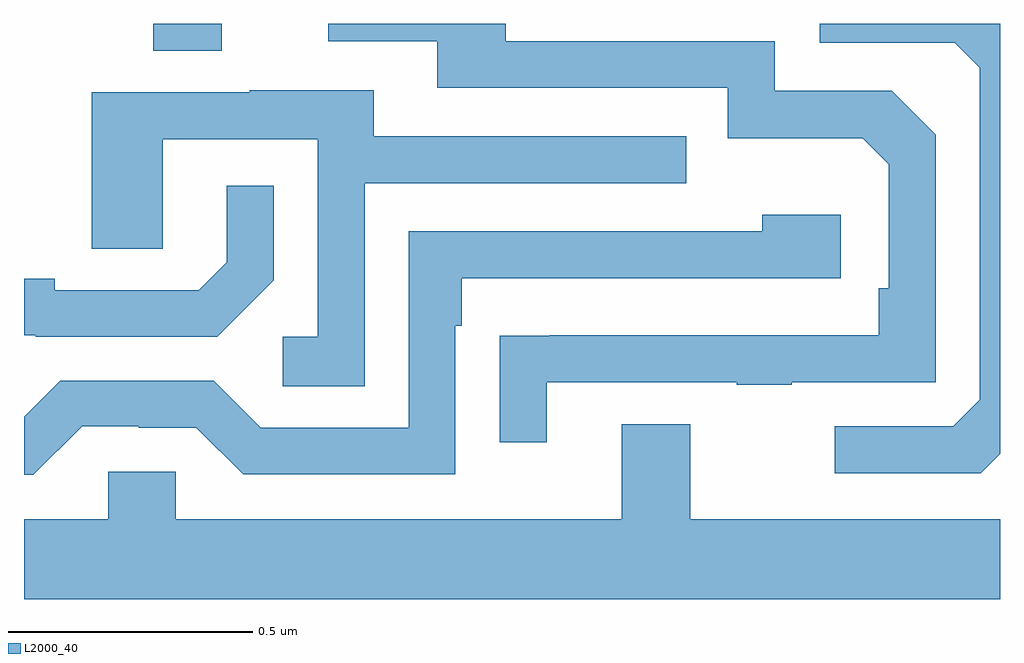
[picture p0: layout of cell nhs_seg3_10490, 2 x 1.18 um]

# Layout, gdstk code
import gdstk
lib = gdstk.Library(unit=1e-6, precision=1e-09)
def R(c, l, rs):  # rectangles x0, y0, x1, y1
    for r in rs: c.add(gdstk.rectangle(r[:2], r[2:], *l))
def P(c, l, *ps):  # polygons
    for p in ps: c.add(gdstk.Polygon(p, *l))
L2000_40 = (2000, 40)

nhs_seg3_10490 = lib.new_cell('nhs_seg3_10490')
R(nhs_seg3_10490, L2000_40, [(241.265,731.344,241.405,731.4)])
P(nhs_seg3_10490, L2000_40, [(242.071,730.665),(242.461,730.665),(242.461,730.66),(242.573,730.66),(242.573,730.665),(242.868,730.665),(242.868,731.172),(242.778,731.262),(242.538,731.262),(242.538,731.364),(241.987,731.364),(241.987,731.4),(241.623,731.4),(241.623,731.364),(241.847,731.364),(241.847,731.268),(242.442,731.268),(242.442,731.165),(242.719,731.165),(242.772,731.112),(242.772,730.858),(242.752,730.858),(242.752,730.761),(242.077,730.761),(242.077,730.76),(241.975,730.76),(241.975,730.542),(242.071,730.542)],
  [(243,730.518),(243,731.4),(242.631,731.4),(242.631,731.361),(242.907,731.361),(242.958,731.31),(242.958,730.629),(242.904,730.575),(242.661,730.575),(242.661,730.479),(242.961,730.479)],
  [(241.698,731.073),(242.357,731.073),(242.357,731.169),(241.717,731.169),(241.717,731.263),(241.463,731.263),(241.463,731.259),(241.139,731.259),(241.139,730.939),(241.284,730.939),(241.284,731.163),(241.602,731.163),(241.602,730.758),(241.53,730.758),(241.53,730.657),(241.698,730.657)],
  [(241.512,730.874),(241.512,731.068),(241.415,731.068),(241.415,730.911),(241.358,730.854),(241.063,730.854),(241.063,730.877),(241,730.877),(241,730.761),(241.024,730.761),(241.024,730.758),(241.396,730.758)],
  [(241.119,730.575),(241.235,730.575),(241.235,730.572),(241.353,730.572),(241.449,730.476),(241.884,730.476),(241.884,730.781),(241.897,730.781),(241.897,730.878),(242.674,730.878),(242.674,731.008),(242.513,731.008),(242.513,730.974),(241.788,730.974),(241.788,730.572),(241.485,730.572),(241.389,730.668),(241.074,730.668),(241,730.594),(241,730.475),(241.019,730.475)],
  [(243,730.384),(242.365,730.384),(242.365,730.579),(242.225,730.579),(242.225,730.384),(241.311,730.384),(241.311,730.482),(241.173,730.482),(241.173,730.384),(241,730.384),(241,730.22),(243,730.22)])

lib.write_gds('nhs_seg3_10490.gds')
